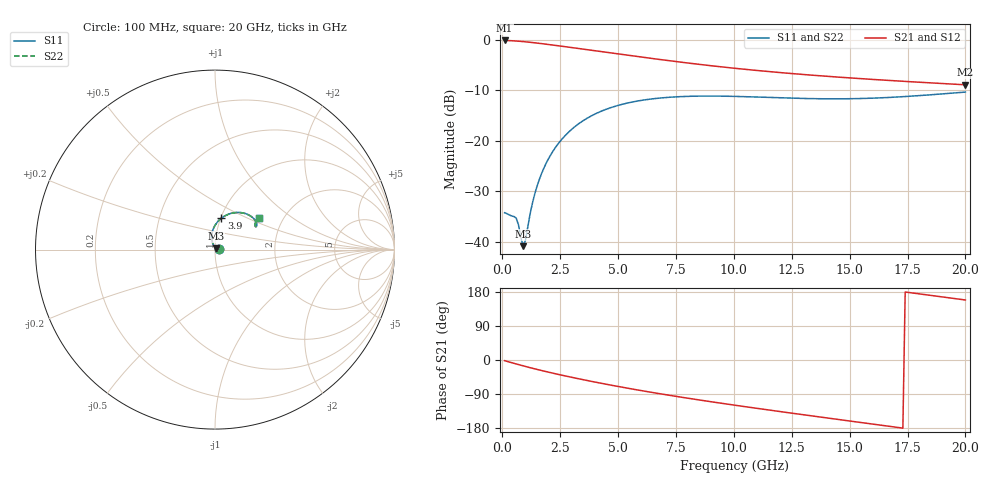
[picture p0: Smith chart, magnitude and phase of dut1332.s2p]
! Touchstone file exported from HFSS 2024.1.0
!  File:  C:/UserFiles/LocalFiles/RDL_TSV_Batchsim/temp_RDL_TSV_1332_1780389827.aedt
!  Generated:  04:56:11 PM Jun  2, 2026
!  Design:  RDL_TSV
!  Project:  temp_RDL_TSV_1332_1780389827
!  Setup:  Setup1
!  Solution:  Sweep
! Variables:
!  dtsv = 14.12um
!  hbump = 3um
!  htsv = 62.55um
!  ldown = 540.55um
!  lrdl = 297.49um
!  p = 40
!  p1 = 43.7um
!  rhole = 10um
!  subl = 2811.61um
!  t = 450um
!  tdown = 4.11um
!  trdl = 2.35um
!  viad = 10um
!  wdown = 16.26um
!  wrdl = 16.42um
!  xbump = 18um
# GHz S MA R 50.000000
! Terminal data exported
! Port[1] = TM1_1_T1
! Port[2] = TM1_4_T1
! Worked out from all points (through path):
!   200 points, 100 MHz to 20 GHz, reference 50 ohm
!   highest |S21| = -0.18 dB at 100 MHz (marker M1); lowest = -8.9 dB at 20 GHz (marker M2)
!   group delay of S21, straight-line fit = 26.5 ps
!   lowest |S11| = -40.8 dB at 900 MHz (marker M3), VSWR 1.02, Z = 50.6 + j0.702 ohm
!   |S11| at or under -10 dB: start of sweep to end of sweep
!   |S22| runs from -40.5 to -10.4 dB; largest |S21 - S12| = 8.5e-15
!   S11 on the Smith chart (normalised r, x): 100 MHz: 1.04, +0.00; 3.9 GHz: 1.01, +0.37; 20 GHz: 1.52, +0.59
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0.1  0.01952 2.2  0.9799 -1.8  0.9799 -1.8  0.01952 2.2
! Gamma 0 0 0 0
! Port Impedance 50 0 50 0
0.6  0.01726 15.5  0.9675 -10.5  0.9675 -10.5  0.01679 15.8
0.7  0.01481 15.5  0.9637 -12.1  0.9637 -12.1  0.01459 17.5
0.8  0.01116 24.4  0.9596 -13.8  0.9596 -13.8  0.01144 26.3
0.9  0.009121 49.5  0.9551 -15.4  0.9551 -15.4  0.009477 49.2
1  0.01045 78.3  0.9504 -17.1  0.9504 -17.1  0.01057 77.0
1.2  0.0189 103.5  0.9402 -20.2  0.9402 -20.2  0.01881 103.1
1.4  0.02976 109.4  0.9292 -23.3  0.9292 -23.3  0.02966 109.2
1.6  0.04161 109.9  0.9177 -26.4  0.9177 -26.4  0.04151 109.8
1.9  0.06041 107.4  0.8999 -30.8  0.8999 -30.8  0.06031 107.3
2.2  0.07978 103.4  0.8818 -35.0  0.8818 -35.0  0.07965 103.3
2.6  0.1055 97.3  0.8577 -40.5  0.8577 -40.5  0.1053 97.3
3.5  0.1586 83.9  0.8046 -52.1  0.8046 -52.1  0.1583 83.8
3.9  0.179 78.4  0.7819 -57.0  0.7819 -57.0  0.1787 78.3
5.2  0.2302 63.1  0.7118 -72.1  0.7118 -72.1  0.2297 63.0
6.8  0.2645 48.9  0.6358 -89.0  0.6358 -89.0  0.2639 48.9
8.4  0.2763 39.1  0.5726 -104.5  0.5726 -104.5  0.2755 39.0
10.1  0.2745 32.6  0.5189 -119.8  0.5189 -119.8  0.2737 32.5
11.7  0.2675 29.7  0.4787 -133.6  0.4787 -133.6  0.2665 29.6
13.4  0.261 29.3  0.4445 -147.8  0.4445 -147.8  0.26 29.3
16.7  0.2682 33.1  0.3948 -174.9  0.3948 -174.9  0.2673 33.2
20  0.3031 35.2  0.3576 158.4  0.3576 158.4  0.3024 35.2
